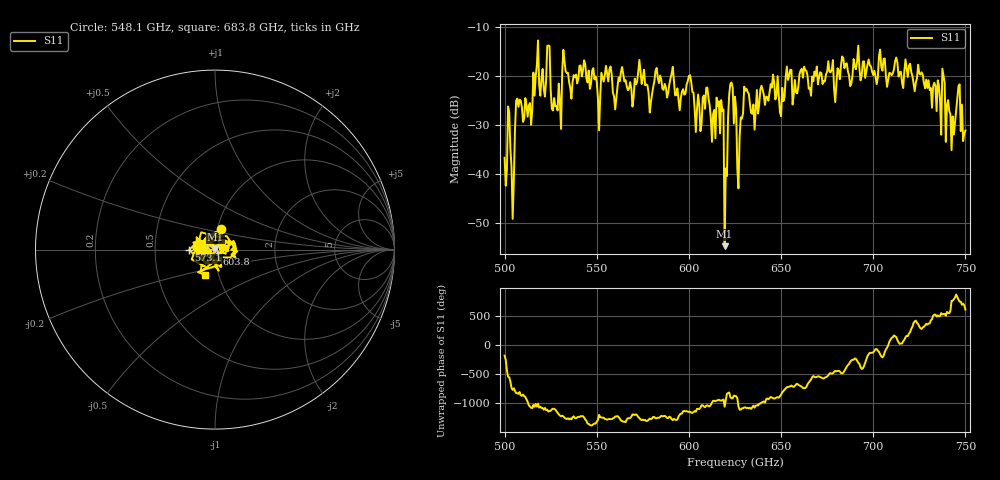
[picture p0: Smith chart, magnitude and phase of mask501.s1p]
!Created with skrf (http://scikit-rf.org).
# GHz S MA R 50.0
!freq magS11 angS11
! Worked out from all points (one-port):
!   401 points, 500 GHz to 750 GHz, reference 50 ohm
!   lowest |S11| = -54.7 dB at 619.4 GHz (marker M1), VSWR 1.00, Z = 50.2 + j0.0574 ohm
!   |S11| at or under -10 dB: start of sweep to end of sweep
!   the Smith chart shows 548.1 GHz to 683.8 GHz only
!   S11 on the Smith chart (normalised r, x): 548.1 GHz: 1.04, +0.24; 573.1 GHz: 0.75, -0.00; 603.8 GHz: 1.02, -0.05; 683.8 GHz: 0.86, -0.25
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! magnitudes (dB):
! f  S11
! 500 GHz  -36.7
! 502.5 GHz  -27.4
! 504.4 GHz  -49.2
! 507.5 GHz  -26.3
! 513.8 GHz  -25.6
! 516.9 GHz  -20.0
! 523.8 GHz  -13.8
! 526.9 GHz  -24.5
! 531.2 GHz  -19.1
! 548.1 GHz  -18.4
! 562.5 GHz  -21.1
! 573.1 GHz  -16.8
! 593.8 GHz  -22.6
! 603.8 GHz  -31.4
! 617.5 GHz  -24.9
! 619.4 GHz  -54.7
! 620.6 GHz  -40.4
! 622.5 GHz  -21.6
! 625 GHz  -24.2
! 627.5 GHz  -32.6
! 631.2 GHz  -22.7
! 656.2 GHz  -25.8
! 683.8 GHz  -16.4
! 687.5 GHz  -22.1
! 718.8 GHz  -20.2
! 743.1 GHz  -28.3
! 746.9 GHz  -21.7
! 750 GHz  -31.1
